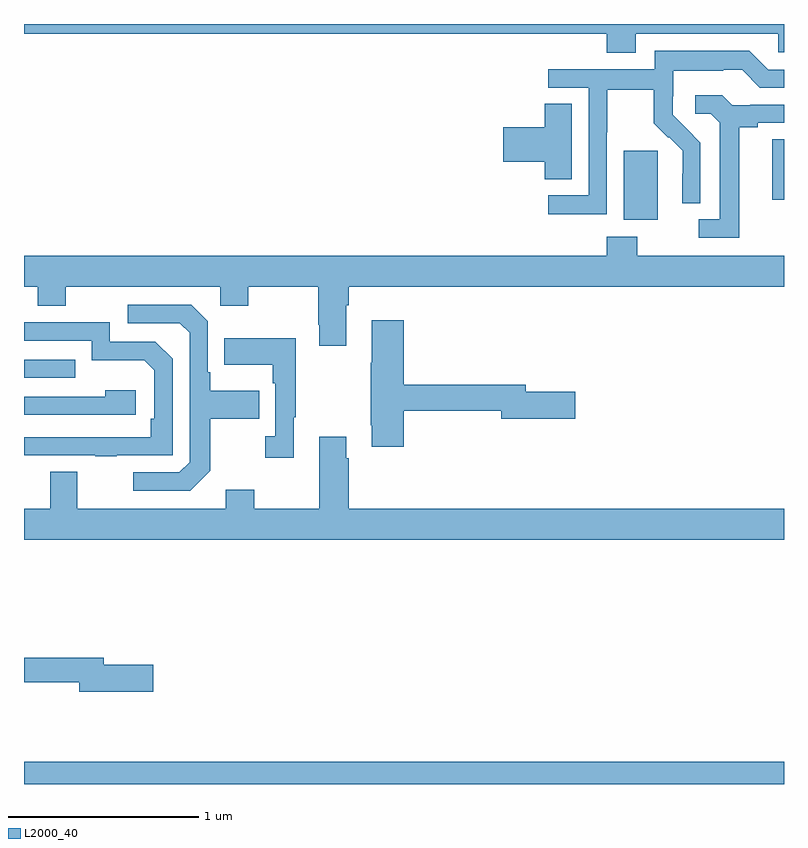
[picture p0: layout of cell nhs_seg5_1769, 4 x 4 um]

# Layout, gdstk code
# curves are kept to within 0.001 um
import gdstk
lib = gdstk.Library(unit=1e-6, precision=1e-09)
def R(c, l, rs):  # rectangles x0, y0, x1, y1
    for r in rs: c.add(gdstk.rectangle(r[:2], r[2:], *l))
def P(c, l, *ps):  # polygons
    for p in ps: c.add(gdstk.Polygon(p, *l))
L2000_40 = (2000, 40)

nhs_seg5_1769 = lib.new_cell('nhs_seg5_1769')
R(nhs_seg5_1769, L2000_40, [(217,864.799,221,864.916), (217,866.937,217.271,867.033), (220.157,867.77,220.336,868.131), (220.937,867.873,221,868.193)])
P(nhs_seg5_1769, L2000_40, [(220.219,868.748),(220.971,868.748),(220.971,868.65),(221,868.65),(221,868.799),(217,868.799),(217,868.748),(220.067,868.748),(220.067,868.649),(220.219,868.649)],
  [(220.068,868.228),(220.071,868.228),(220.071,868.452),(220.315,868.452),(220.315,868.277),(220.392,868.2),(220.395,868.203),(220.466,868.133),(220.466,868.01),(220.464,868.01),(220.464,867.856),(220.56,867.856),(220.56,868.174),(220.414,868.322),(220.414,868.419),(220.416,868.419),(220.416,868.553),(220.679,868.553),(220.679,868.557),(220.779,868.557),(220.872,868.464),(221,868.464),(221,868.557),(220.917,868.557),(220.817,868.657),(220.32,868.657),(220.32,868.56),(219.759,868.56),(219.759,868.464),(219.972,868.464),(219.972,867.897),(219.759,867.897),(219.759,867.799),(220.068,867.799)],
  [(220.765,868.256),(220.861,868.256),(220.861,868.278),(221,868.278),(221,868.374),(220.822,868.374),(220.822,868.371),(220.728,868.371),(220.676,868.423),(220.533,868.423),(220.533,868.326),(220.614,868.326),(220.661,868.279),(220.661,867.771),(220.551,867.771),(220.551,867.675),(220.765,867.675)],
  [(219.883,868.379),(219.74,868.379),(219.74,868.256),(219.522,868.256),(219.522,868.073),(219.74,868.073),(219.74,867.982),(219.883,867.982)],
  [(218.695,867.32),(218.708,867.32),(218.708,867.416),(221,867.416),(221,867.58),(220.227,867.58),(220.227,867.679),(220.067,867.679),(220.067,867.58),(217,867.58),(217,867.416),(217.073,867.416),(217.073,867.317),(217.221,867.317),(217.221,867.416),(218.034,867.416),(218.034,867.317),(218.181,867.317),(218.181,867.416),(218.548,867.416),(218.548,867.217),(218.555,867.217),(218.555,867.105),(218.695,867.105)],
  [(217.981,866.449),(217.981,866.722),(218.237,866.722),(218.237,866.869),(217.981,866.869),(217.981,866.965),(217.968,866.965),(217.968,867.234),(217.881,867.321),(217.545,867.321),(217.545,867.225),(217.821,867.225),(217.872,867.174),(217.872,866.493),(217.818,866.439),(217.575,866.439),(217.575,866.343),(217.875,866.343)],
  [(218.999,866.764),(219.512,866.764),(219.512,866.722),(219.901,866.722),(219.901,866.864),(219.64,866.864),(219.64,866.9),(218.999,866.9),(218.999,867.241),(218.831,867.241),(218.831,867.017),(218.824,867.017),(218.824,866.686),(218.831,866.686),(218.831,866.574),(218.999,866.574)],
  [(217.487,866.529),(217.782,866.529),(217.782,867.036),(217.692,867.126),(217.452,867.126),(217.452,867.228),(217,867.228),(217,867.132),(217.356,867.132),(217.356,867.029),(217.633,867.029),(217.686,866.976),(217.686,866.722),(217.666,866.722),(217.666,866.625),(217,866.625),(217,866.529),(217.375,866.529),(217.375,866.524),(217.487,866.524)],
  [(218.419,866.729),(218.431,866.729),(218.431,867.145),(218.053,867.145),(218.053,867.005),(218.31,867.005),(218.31,866.909),(218.322,866.909),(218.322,866.63),(218.271,866.63),(218.271,866.517),(218.419,866.517)],
  [(217.588,866.872),(217.427,866.872),(217.427,866.838),(217,866.838),(217,866.742),(217.588,866.742)],
  [(221,866.248),(218.708,866.248),(218.708,866.513),(218.695,866.513),(218.695,866.626),(218.555,866.626),(218.555,866.248),(218.211,866.248),(218.211,866.347),(218.063,866.347),(218.063,866.248),(217.279,866.248),(217.279,866.443),(217.139,866.443),(217.139,866.248),(217,866.248),(217,866.084),(221,866.084)],
  [(217.681,865.427),(217.42,865.427),(217.42,865.463),(217,865.463),(217,865.335),(217.292,865.335),(217.292,865.285),(217.681,865.285)])

lib.write_gds('nhs_seg5_1769.gds')
